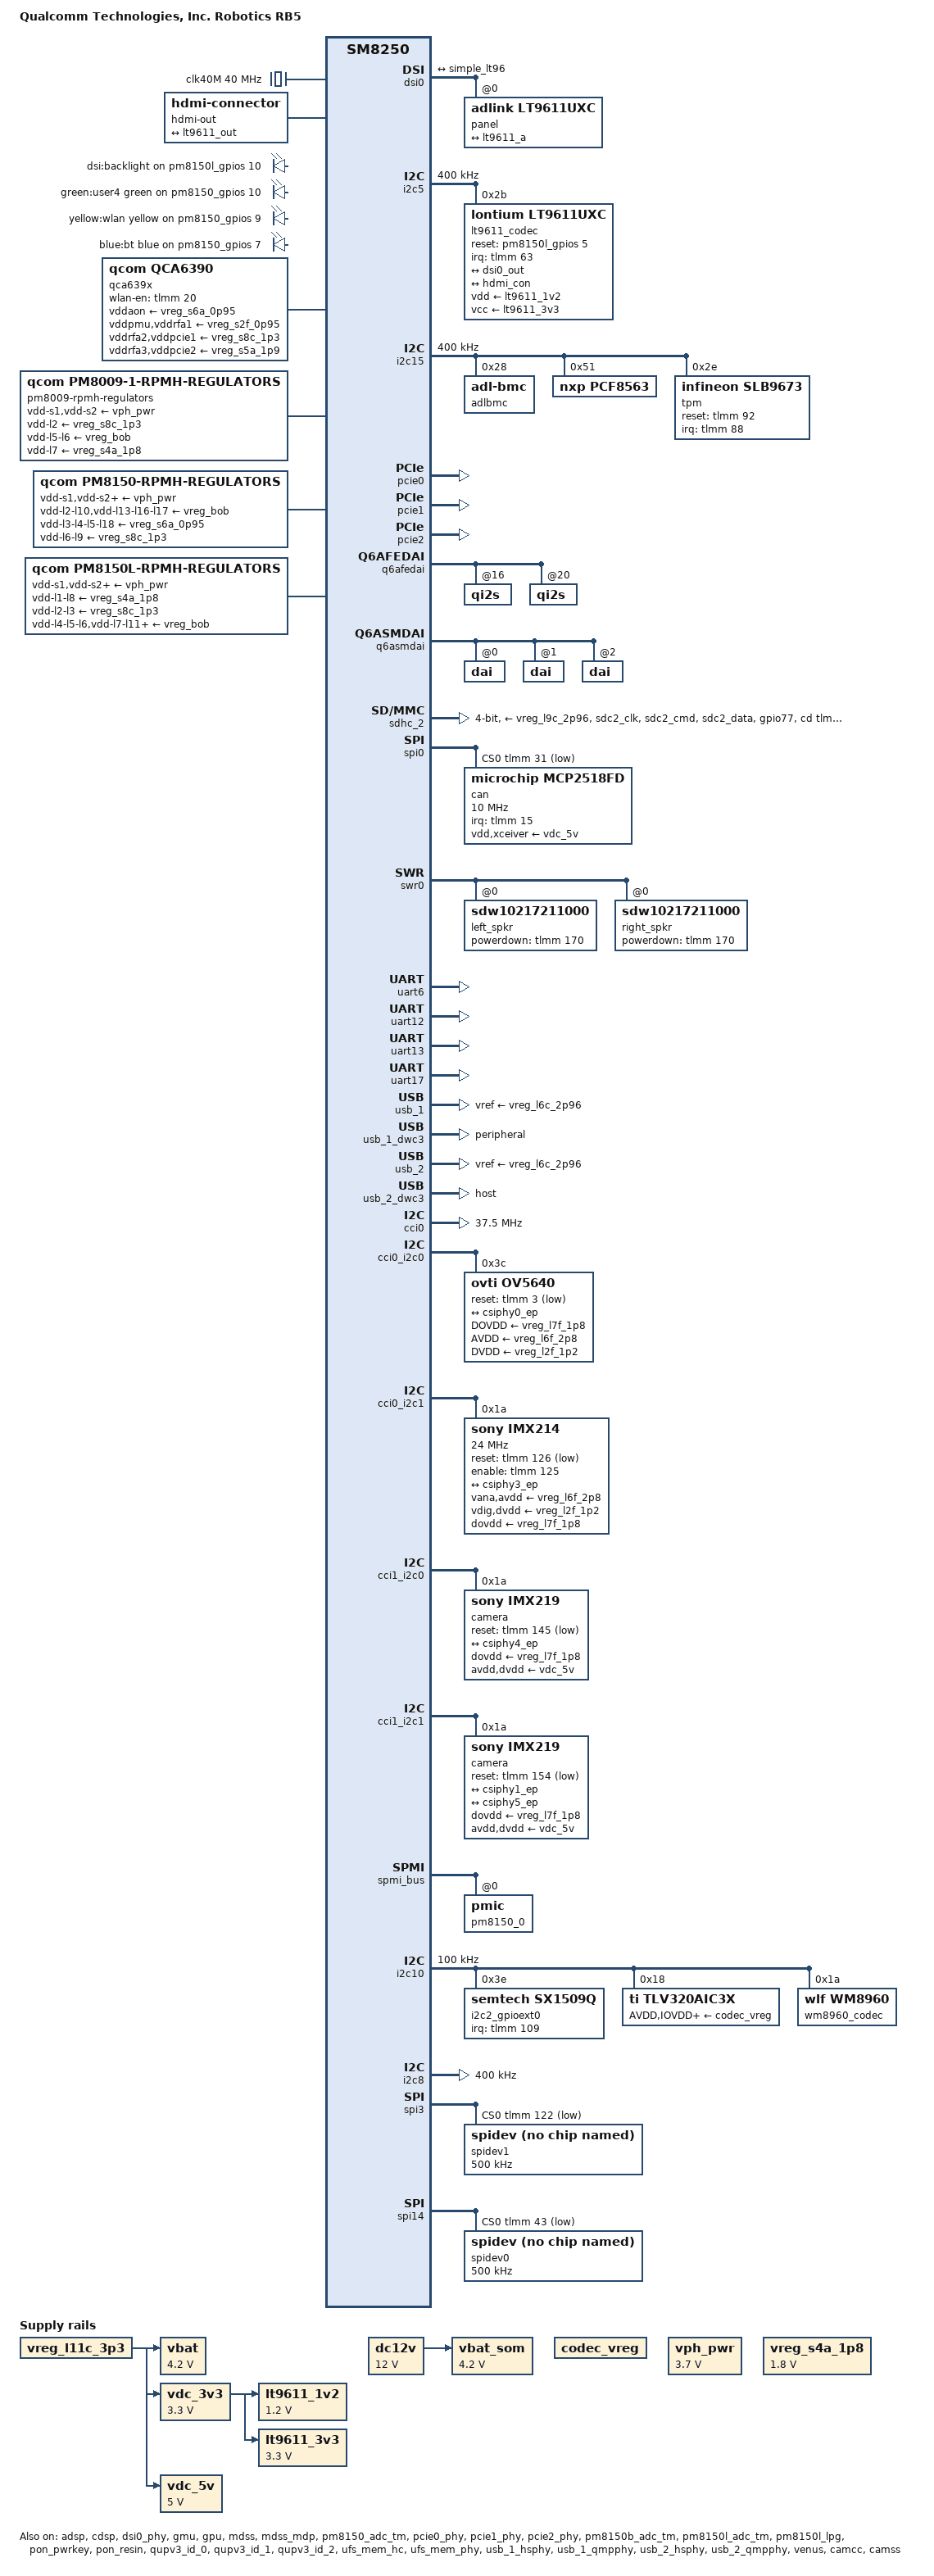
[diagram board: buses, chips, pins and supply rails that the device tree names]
// SPDX-License-Identifier: BSD-3-Clause
/*
 * Copyright (c) 2020, Linaro Ltd.
 */

/dts-v1/;

#include <dt-bindings/leds/common.h>
#include <dt-bindings/regulator/qcom,rpmh-regulator.h>
#include <dt-bindings/sound/qcom,q6afe.h>
#include <dt-bindings/sound/qcom,q6asm.h>
#include "sm8250.dtsi"
#include "pm8150.dtsi"
#include "pm8150b.dtsi"
#include "pm8150l.dtsi"

/ {
	model = "Qualcomm Technologies, Inc. Robotics RB5";
	compatible = "qcom,qrb5165-rb5", "qcom,sm8250";
	qcom,msm-id = <455 0x20001>;
	qcom,board-id = <11 3>;

	aliases {
		hsuart0 = &uart6;
                hsuart1 = &uart17;
                hsuart2 = &uart13;
                serial0 = &uart12;
                sdhc2 = &sdhc_2;	

//		serial0 = &uart12;
//		serial1 = &uart6;
//		sdhc2 = &sdhc_2;
	};

	chosen {
		stdout-path = "serial0:115200n8";
	};

	/* Fixed crystal oscillator dedicated to MCP2518FD */
	clk40M: can-clock {
		compatible = "fixed-clock";
		#clock-cells = <0>;
		clock-frequency = <40000000>;
	};

	dc12v: dc12v-regulator {
		compatible = "regulator-fixed";
		regulator-name = "DC12V";
		regulator-min-microvolt = <12000000>;
		regulator-max-microvolt = <12000000>;
		regulator-always-on;
	};

	hdmi-out {
		compatible = "hdmi-connector";
		type = "a";

		port {
			hdmi_con: endpoint {
				remote-endpoint = <&lt9611_out>;
			};
		};
	};
	
  
 	bl: backlight {
//                compatible = "gpio-backlight";
//		pinctrl-0 = <&dsi0_back_light_en>;
//               pinctrl-names = "default";
//                gpios = <&pm8150l_gpios 10 GPIO_ACTIVE_HIGH>;
		enable-gpios = <&tlmm 112 GPIO_ACTIVE_HIGH>;
        };



	leds {
		compatible = "gpio-leds";
	     
		pinctrl-0 = <&dsi0_back_light_en>;
              pinctrl-names = "default";

                dsibacklight {
                        label = "dsi:backlight";
	                gpios = <&pm8150l_gpios 10 GPIO_ACTIVE_HIGH>;
                        linux,default-trigger = "panic-indicator";
                        default-state = "off";
                };


		led-user4 {
			label = "green:user4";
			function = LED_FUNCTION_INDICATOR;
			color = <LED_COLOR_ID_GREEN>;
			gpios = <&pm8150_gpios 10 GPIO_ACTIVE_HIGH>;
			linux,default-trigger = "panic-indicator";
			default-state = "off";
		};

		led-wlan {
			label = "yellow:wlan";
			function = LED_FUNCTION_WLAN;
			color = <LED_COLOR_ID_YELLOW>;
			gpios = <&pm8150_gpios 9 GPIO_ACTIVE_HIGH>;
			linux,default-trigger = "phy0tx";
			default-state = "off";
		};

		led-bt {
			label = "blue:bt";
			function = LED_FUNCTION_BLUETOOTH;
			color = <LED_COLOR_ID_BLUE>;
			gpios = <&pm8150_gpios 7 GPIO_ACTIVE_HIGH>;
			linux,default-trigger = "bluetooth-power";
			default-state = "off";
		};
	};
   	codec_vreg: regulator-codec-tlv320aic3x {
                compatible = "regulator-fixed";
                regulator-name = "codec_vreg";
                startup-delay-us = <100>;
                enable-active-high;
        };

	lt9611_1v2: lt9611-vdd12-regulator {
		compatible = "regulator-fixed";
		regulator-name = "LT9611_1V2";

		vin-supply = <&vdc_3v3>;
		regulator-min-microvolt = <1200000>;
		regulator-max-microvolt = <1200000>;
	};

	lt9611_3v3: lt9611-3v3 {
		compatible = "regulator-fixed";
		regulator-name = "LT9611_3V3";

		vin-supply = <&vdc_3v3>;
		regulator-min-microvolt = <3300000>;
		regulator-max-microvolt = <3300000>;
		regulator-boot-on;
		regulator-always-on;
	};

	thermal-zones {
		conn-thermal {
			polling-delay-passive = <0>;
			polling-delay = <0>;
			thermal-sensors = <&pm8150b_adc_tm 0>;

			trips {
				active-config0 {
					temperature = <125000>;
					hysteresis = <1000>;
					type = "critical";
				};
			};
		};

		pm8150l-thermal {
			polling-delay-passive = <0>;
			polling-delay = <0>;
			thermal-sensors = <&pm8150l_adc_tm 1>;

			trips {
				active-config0 {
					temperature = <50000>;
					hysteresis = <4000>;
					type = "passive";
				};
			};
		};

		skin-msm-thermal {
			polling-delay-passive = <0>;
			polling-delay = <0>;
			thermal-sensors = <&pm8150l_adc_tm 0>;

			trips {
				active-config0 {
					temperature = <50000>;
					hysteresis = <4000>;
					type = "passive";
				};
			};
		};

		wifi-thermal {
			polling-delay-passive = <0>;
			polling-delay = <0>;
			thermal-sensors = <&pm8150_adc_tm 1>;

			trips {
				active-config0 {
					temperature = <52000>;
					hysteresis = <4000>;
					type = "passive";
				};
			};
		};

		xo-thermal {
			polling-delay-passive = <0>;
			polling-delay = <0>;
			thermal-sensors = <&pm8150_adc_tm 0>;

			trips {
				active-config0 {
					temperature = <50000>;
					hysteresis = <4000>;
					type = "passive";
				};
			};
		};
	};

	vbat: vbat-regulator {
		compatible = "regulator-fixed";
		regulator-name = "VBAT";
		vin-supply = <&vreg_l11c_3p3>;
		regulator-min-microvolt = <4200000>;
		regulator-max-microvolt = <4200000>;
		regulator-always-on;
	};

	vbat_som: vbat-som-regulator {
		compatible = "regulator-fixed";
		regulator-name = "VBAT_SOM";
		vin-supply = <&dc12v>;
		regulator-min-microvolt = <4200000>;
		regulator-max-microvolt = <4200000>;
		regulator-always-on;
	};

	vdc_3v3: vdc-3v3-regulator {
		compatible = "regulator-fixed";
		regulator-name = "VDC_3V3";
		vin-supply = <&vreg_l11c_3p3>;
		regulator-min-microvolt = <3300000>;
		regulator-max-microvolt = <3300000>;
		regulator-always-on;
	};

	vdc_5v: vdc-5v-regulator {
		compatible = "regulator-fixed";
		regulator-name = "VDC_5V";

		regulator-min-microvolt = <5000000>;
		regulator-max-microvolt = <5000000>;
		regulator-always-on;
		vin-supply = <&vreg_l11c_3p3>;
	};

	vph_pwr: vph-pwr-regulator {
		compatible = "regulator-fixed";
		regulator-name = "vph_pwr";
		regulator-min-microvolt = <3700000>;
		regulator-max-microvolt = <3700000>;
		regulator-always-on;
	};

	vreg_s4a_1p8: vreg-s4a-1p8 {
		compatible = "regulator-fixed";
		regulator-name = "vreg_s4a_1p8";
		regulator-min-microvolt = <1800000>;
		regulator-max-microvolt = <1800000>;
		regulator-always-on;
	};

	qca639x: qca639x {
		compatible = "qcom,qca6390";
		#power-domain-cells = <0>;

		vddaon-supply = <&vreg_s6a_0p95>;
		vddpmu-supply = <&vreg_s2f_0p95>;
		vddrfa1-supply = <&vreg_s2f_0p95>;
		vddrfa2-supply = <&vreg_s8c_1p3>;
		vddrfa3-supply = <&vreg_s5a_1p9>;
		vddpcie1-supply = <&vreg_s8c_1p3>;
		vddpcie2-supply = <&vreg_s5a_1p9>;
		vddio-supply = <&vreg_s4a_1p8>;

		pinctrl-names = "default";
		pinctrl-0 = <&wlan_en_state>;

		wlan-en-gpios = <&tlmm 20 GPIO_ACTIVE_HIGH>;
	};

};

&adsp {
	status = "okay";
	firmware-name = "qcom/sm8250/adsp.mbn";
};

&apps_rsc {
	pm8009-rpmh-regulators {
		compatible = "qcom,pm8009-1-rpmh-regulators";
		qcom,pmic-id = "f";

		vdd-s1-supply = <&vph_pwr>;
		vdd-s2-supply = <&vph_pwr>;
		vdd-l2-supply = <&vreg_s8c_1p3>;
		vdd-l5-l6-supply = <&vreg_bob>;
		vdd-l7-supply = <&vreg_s4a_1p8>;

		vreg_s2f_0p95: smps2 {
			regulator-name = "vreg_s2f_0p95";
			regulator-min-microvolt = <900000>;
			regulator-max-microvolt = <952000>;
			regulator-initial-mode = <RPMH_REGULATOR_MODE_AUTO>;
		};

		vreg_l1f_1p1: ldo1 {
			regulator-name = "vreg_l1f_1p1";
			regulator-min-microvolt = <1104000>;
			regulator-max-microvolt = <1104000>;
			regulator-initial-mode = <RPMH_REGULATOR_MODE_HPM>;
		};

		vreg_l2f_1p2: ldo2 {
			regulator-name = "vreg_l2f_1p2";
			regulator-min-microvolt = <1200000>;
			regulator-max-microvolt = <1200000>;
			regulator-initial-mode = <RPMH_REGULATOR_MODE_HPM>;
		};

		vreg_l6f_2p8: ldo6 {
			regulator-name = "vreg_l6f_2p8";
			regulator-min-microvolt = <2800000>;
			regulator-max-microvolt = <2800000>;
			regulator-initial-mode = <RPMH_REGULATOR_MODE_HPM>;
		};

		vreg_l7f_1p8: ldo7 {
			regulator-name = "vreg_l7f_1p8";
			regulator-min-microvolt = <1800000>;
			regulator-max-microvolt = <1800000>;
			regulator-initial-mode = <RPMH_REGULATOR_MODE_HPM>;
		};
	};

	pm8150-rpmh-regulators {
		compatible = "qcom,pm8150-rpmh-regulators";
		qcom,pmic-id = "a";

		vdd-s1-supply = <&vph_pwr>;
		vdd-s2-supply = <&vph_pwr>;
		vdd-s3-supply = <&vph_pwr>;
		vdd-s4-supply = <&vph_pwr>;
		vdd-s5-supply = <&vph_pwr>;
		vdd-s6-supply = <&vph_pwr>;
		vdd-s7-supply = <&vph_pwr>;
		vdd-s8-supply = <&vph_pwr>;
		vdd-s9-supply = <&vph_pwr>;
		vdd-s10-supply = <&vph_pwr>;
		vdd-l2-l10-supply = <&vreg_bob>;
		vdd-l3-l4-l5-l18-supply = <&vreg_s6a_0p95>;
		vdd-l6-l9-supply = <&vreg_s8c_1p3>;
		vdd-l7-l12-l14-l15-supply = <&vreg_s5a_1p9>;
		vdd-l13-l16-l17-supply = <&vreg_bob>;

		vreg_l2a_3p1: ldo2 {
			regulator-name = "vreg_l2a_3p1";
			regulator-min-microvolt = <3072000>;
			regulator-max-microvolt = <3072000>;
			regulator-initial-mode = <RPMH_REGULATOR_MODE_HPM>;
		};

		vreg_l3a_0p9: ldo3 {
			regulator-name = "vreg_l3a_0p9";
			regulator-min-microvolt = <928000>;
			regulator-max-microvolt = <932000>;
			regulator-initial-mode = <RPMH_REGULATOR_MODE_HPM>;
		};

		vreg_l5a_0p88: ldo5 {
			regulator-name = "vreg_l5a_0p88";
			regulator-min-microvolt = <880000>;
			regulator-max-microvolt = <880000>;
			regulator-initial-mode = <RPMH_REGULATOR_MODE_HPM>;
		};

		vreg_l6a_1p2: ldo6 {
			regulator-name = "vreg_l6a_1p2";
			regulator-min-microvolt = <1200000>;
			regulator-max-microvolt = <1200000>;
			regulator-initial-mode = <RPMH_REGULATOR_MODE_HPM>;
		};

		vreg_l7a_1p7: ldo7 {
			regulator-name = "vreg_l7a_1p7";
			regulator-min-microvolt = <1704000>;
			regulator-max-microvolt = <1800000>;
			regulator-initial-mode = <RPMH_REGULATOR_MODE_HPM>;
		};

		vreg_l9a_1p2: ldo9 {
			regulator-name = "vreg_l9a_1p2";
			regulator-min-microvolt = <1200000>;
			regulator-max-microvolt = <1200000>;
			regulator-initial-mode = <RPMH_REGULATOR_MODE_HPM>;
		};

		vreg_l10a_1p8: ldo10 {
			regulator-name = "vreg_l10a_1p8";
			regulator-min-microvolt = <1800000>;
			regulator-max-microvolt = <1800000>;
			regulator-initial-mode = <RPMH_REGULATOR_MODE_HPM>;
		};

		vreg_l12a_1p8: ldo12 {
			regulator-name = "vreg_l12a_1p8";
			regulator-min-microvolt = <1800000>;
			regulator-max-microvolt = <1800000>;
			regulator-initial-mode = <RPMH_REGULATOR_MODE_HPM>;
		};

		vreg_l13a_ts_3p0: ldo13 {
			regulator-name = "vreg_l13a_ts_3p0";
			regulator-min-microvolt = <3008000>;
			regulator-max-microvolt = <3008000>;
			regulator-initial-mode = <RPMH_REGULATOR_MODE_HPM>;
		};

		vreg_l14a_1p8: ldo14 {
			regulator-name = "vreg_l14a_1p8";
			regulator-min-microvolt = <1800000>;
			regulator-max-microvolt = <1880000>;
			regulator-initial-mode = <RPMH_REGULATOR_MODE_HPM>;
		};

		vreg_l15a_1p8: ldo15 {
			regulator-name = "vreg_l15a_1p8";
			regulator-min-microvolt = <1800000>;
			regulator-max-microvolt = <1800000>;
			regulator-initial-mode = <RPMH_REGULATOR_MODE_HPM>;
		};

		vreg_l16a_2p7: ldo16 {
			regulator-name = "vreg_l16a_2p7";
			regulator-min-microvolt = <2704000>;
			regulator-max-microvolt = <2960000>;
			regulator-initial-mode = <RPMH_REGULATOR_MODE_HPM>;
		};

		vreg_l17a_3p0: ldo17 {
			regulator-name = "vreg_l17a_3p0";
			regulator-min-microvolt = <2856000>;
			regulator-max-microvolt = <3008000>;
			regulator-initial-mode = <RPMH_REGULATOR_MODE_HPM>;
		};

		vreg_l18a_0p92: ldo18 {
			regulator-name = "vreg_l18a_0p92";
			regulator-min-microvolt = <800000>;
			regulator-max-microvolt = <912000>;
			regulator-initial-mode = <RPMH_REGULATOR_MODE_HPM>;
		};

		vreg_s5a_1p9: smps5 {
			regulator-name = "vreg_s5a_1p9";
			regulator-min-microvolt = <1904000>;
			regulator-max-microvolt = <2000000>;
			regulator-initial-mode = <RPMH_REGULATOR_MODE_HPM>;
		};

		vreg_s6a_0p95: smps6 {
			regulator-name = "vreg_s6a_0p95";
			regulator-min-microvolt = <920000>;
			regulator-max-microvolt = <1128000>;
			regulator-initial-mode = <RPMH_REGULATOR_MODE_HPM>;
		};
	};

	pm8150l-rpmh-regulators {
		compatible = "qcom,pm8150l-rpmh-regulators";
		qcom,pmic-id = "c";

		vdd-s1-supply = <&vph_pwr>;
		vdd-s2-supply = <&vph_pwr>;
		vdd-s3-supply = <&vph_pwr>;
		vdd-s4-supply = <&vph_pwr>;
		vdd-s5-supply = <&vph_pwr>;
		vdd-s6-supply = <&vph_pwr>;
		vdd-s7-supply = <&vph_pwr>;
		vdd-s8-supply = <&vph_pwr>;
		vdd-l1-l8-supply = <&vreg_s4a_1p8>;
		vdd-l2-l3-supply = <&vreg_s8c_1p3>;
		vdd-l4-l5-l6-supply = <&vreg_bob>;
		vdd-l7-l11-supply = <&vreg_bob>;
		vdd-l9-l10-supply = <&vreg_bob>;
		vdd-bob-supply = <&vph_pwr>;

		vreg_bob: bob {
			regulator-name = "vreg_bob";
			regulator-min-microvolt = <3008000>;
			regulator-max-microvolt = <4000000>;
			regulator-initial-mode = <RPMH_REGULATOR_MODE_AUTO>;
		};

		vreg_l1c_1p8: ldo1 {
			regulator-name = "vreg_l1c_1p8";
			regulator-min-microvolt = <1800000>;
			regulator-max-microvolt = <1800000>;
			regulator-initial-mode = <RPMH_REGULATOR_MODE_HPM>;
		};

		vreg_l2c_1p2: ldo2 {
			regulator-name = "vreg_l2c_1p2";
			regulator-min-microvolt = <1200000>;
			regulator-max-microvolt = <1200000>;
			regulator-initial-mode = <RPMH_REGULATOR_MODE_HPM>;
		};

		vreg_l3c_0p8: ldo3 {
			regulator-name = "vreg_l3c_0p8";
			regulator-min-microvolt = <800000>;
			regulator-max-microvolt = <800000>;
			regulator-initial-mode = <RPMH_REGULATOR_MODE_HPM>;
		};

		vreg_l4c_1p7: ldo4 {
			regulator-name = "vreg_l4c_1p7";
			regulator-min-microvolt = <1704000>;
			regulator-max-microvolt = <2928000>;
			regulator-initial-mode = <RPMH_REGULATOR_MODE_HPM>;
		};

		vreg_l5c_1p8: ldo5 {
			regulator-name = "vreg_l5c_1p8";
			regulator-min-microvolt = <1800000>;
			regulator-max-microvolt = <2928000>;
			regulator-initial-mode = <RPMH_REGULATOR_MODE_HPM>;
		};

		vreg_l6c_2p96: ldo6 {
			regulator-name = "vreg_l6c_2p96";
			regulator-min-microvolt = <1800000>;
			regulator-max-microvolt = <2960000>;
			regulator-initial-mode = <RPMH_REGULATOR_MODE_HPM>;
		};

		vreg_l7c_cam_vcm0_2p85: ldo7 {
			regulator-name = "vreg_l7c_cam_vcm0_2p85";
			regulator-min-microvolt = <2856000>;
			regulator-max-microvolt = <3104000>;
			regulator-initial-mode = <RPMH_REGULATOR_MODE_HPM>;
		};

		vreg_l8c_1p8: ldo8 {
			regulator-name = "vreg_l8c_1p8";
			regulator-min-microvolt = <1800000>;
			regulator-max-microvolt = <1800000>;
			regulator-initial-mode = <RPMH_REGULATOR_MODE_HPM>;
		};

		vreg_l9c_2p96: ldo9 {
			regulator-name = "vreg_l9c_2p96";
			regulator-min-microvolt = <2704000>;
			regulator-max-microvolt = <2960000>;
			regulator-initial-mode = <RPMH_REGULATOR_MODE_HPM>;
		};

		vreg_l10c_3p0: ldo10 {
			regulator-name = "vreg_l10c_3p0";
			regulator-min-microvolt = <3000000>;
			regulator-max-microvolt = <3000000>;
			regulator-initial-mode = <RPMH_REGULATOR_MODE_HPM>;
		};

		vreg_l11c_3p3: ldo11 {
			regulator-name = "vreg_l11c_3p3";
			regulator-min-microvolt = <3296000>;
			regulator-max-microvolt = <3296000>;
			regulator-initial-mode = <RPMH_REGULATOR_MODE_HPM>;
			regulator-always-on;
		};

		vreg_s8c_1p3: smps8 {
			regulator-name = "vreg_s8c_1p3";
			regulator-min-microvolt = <1352000>;
			regulator-max-microvolt = <1352000>;
			regulator-initial-mode = <RPMH_REGULATOR_MODE_HPM>;
		};
	};
};

&cdsp {
	status = "okay";
	firmware-name = "qcom/sm8250/cdsp.mbn";
};

&dsi0 {
	status = "okay";
	vdda-supply = <&vreg_l9a_1p2>;

#if 0
	qcom,dual-dsi-mode;
	qcom,master-dsi;
#endif
	ports {
		port@1 {
			endpoint {
				remote-endpoint = <&simple_lt96>;
				data-lanes = <0 1 2 3>;
			};
		};
	};
	        panel@0 {
                compatible = "adlink,lt9611uxc";
                reg = <0>;
                status = "ok";
                ports {
                        #address-cells = <1>;
                        #size-cells = <0>;

                        port@0 {
                                reg = <0>;
                                simple_lt96: endpoint {
                                        remote-endpoint = <&lt9611_a>;
                                };
                        };
                };

           };

};

&dsi0_phy {
	status = "okay";
	vdds-supply = <&vreg_l5a_0p88>;
};

&gmu {
	status = "okay";
};

&gpu {
	status = "okay";

	zap-shader {
		memory-region = <&gpu_mem>;
		firmware-name = "qcom/sm8250/a650_zap.mbn";
	};
};

/* LS-I2C0 */
&i2c4 {
        clock-frequency  = <400000>;
	status = "disabled";
};

&i2c5 {
	status = "okay";
	clock-frequency = <400000>;

	lt9611_codec: hdmi-bridge@2b {
		compatible = "lontium,lt9611uxc";
		reg = <0x2b>;
		#sound-dai-cells = <1>;

		interrupts-extended = <&tlmm 63 IRQ_TYPE_EDGE_FALLING>;

		reset-gpios = <&pm8150l_gpios 5 GPIO_ACTIVE_HIGH>;

		vdd-supply = <&lt9611_1v2>;
		vcc-supply = <&lt9611_3v3>;

		pinctrl-names = "default";
		pinctrl-0 = <&lt9611_irq_pin &lt9611_rst_pin>;

		ports {
			#address-cells = <1>;
			#size-cells = <0>;

			port@0 {
				reg = <0>;

				lt9611_a: endpoint {
					remote-endpoint = <&dsi0_out>;
				};
			};

#if 0
			port@1 {
				reg = <1>;

				lt9611_b: endpoint {
					remote-endpoint = <&dsi1_out>;
				};
			};
#endif

			port@2 {
				reg = <2>;

				lt9611_out: endpoint {
					remote-endpoint = <&hdmi_con>;
				};
			};

		};
	};
};

/* LS-I2C1 */
&i2c15 {
	status = "okay";
};

&mdss {
	status = "okay";
};

&mdss_mdp {
	status = "okay";
};

&pm8150_adc {
	xo-therm@4c {
		reg = <ADC5_XO_THERM_100K_PU>;
		qcom,ratiometric;
		qcom,hw-settle-time = <200>;
	};

	wifi-therm@4e {
		reg = <ADC5_AMUX_THM2_100K_PU>;
		qcom,ratiometric;
		qcom,hw-settle-time = <200>;
	};
};

&pm8150_adc_tm {
	status = "okay";

	xo-therm@0 {
		reg = <0>;
		io-channels = <&pm8150_adc ADC5_XO_THERM_100K_PU>;
		qcom,ratiometric;
		qcom,hw-settle-time-us = <200>;
	};

	wifi-therm@1 {
		reg = <1>;
		io-channels = <&pm8150_adc ADC5_AMUX_THM2_100K_PU>;
		qcom,ratiometric;
		qcom,hw-settle-time-us = <200>;
	};
};

&pcie0 {
	status = "okay";
};

&pcie0_phy {
	status = "okay";
	vdda-phy-supply = <&vreg_l5a_0p88>;
	vdda-pll-supply = <&vreg_l9a_1p2>;

	/* Power on QCA639x chip, otherwise PCIe bus timeouts */
	power-domains = <&qca639x>;
};

&pcie1 {
	status = "okay";
};

&pcie1_phy {
	status = "okay";
	vdda-phy-supply = <&vreg_l5a_0p88>;
	vdda-pll-supply = <&vreg_l9a_1p2>;
};

&pcie2 {
	status = "okay";
};

&pcie2_phy {
	status = "okay";
	vdda-phy-supply = <&vreg_l5a_0p88>;
	vdda-pll-supply = <&vreg_l9a_1p2>;
};

&pm8150_gpios {
	gpio-reserved-ranges = <1 1>, <3 2>, <7 1>;
	gpio-line-names =
		"NC",
		"OPTION2",
		"PM_GPIO-F",
		"PM_SLP_CLK_IN",
		"OPTION1",
		"VOL_UP_N",
		"PM8250_GPIO7", /* Blue LED */
		"SP_ARI_PWR_ALARM",
		"GPIO_9_P", /* Yellow LED */
		"GPIO_10_P"; /* Green LED */
};

&pm8150b_adc {
	conn-therm@4f {
		reg = <ADC5_AMUX_THM3_100K_PU>;
		qcom,ratiometric;
		qcom,hw-settle-time = <200>;
	};
};

&pm8150b_adc_tm {
	status = "okay";

	conn-therm@0 {
		reg = <0>;
		io-channels = <&pm8150b_adc ADC5_AMUX_THM3_100K_PU>;
		qcom,ratiometric;
		qcom,hw-settle-time-us = <200>;
	};
};

&pm8150b_gpios {
	gpio-line-names =
		"NC",
		"NC",
		"NC",
		"NC",
		"HAP_BOOST_EN", /* SOM */
		"SMB_STAT", /* SOM */
		"NC",
		"NC",
		"SDM_FORCE_USB_BOOT",
		"NC",
		"NC",
		"NC";
};

&pm8150l_adc {
	skin-msm-therm@4e {
		reg = <ADC5_AMUX_THM2_100K_PU>;
		qcom,ratiometric;
		qcom,hw-settle-time = <200>;
	};

	pm8150l-therm@4f {
		reg = <ADC5_AMUX_THM3_100K_PU>;
		qcom,ratiometric;
		qcom,hw-settle-time = <200>;
	};
};

&pm8150l_adc_tm {
	status = "okay";

	skin-msm-therm@0 {
		reg = <0>;
		io-channels = <&pm8150l_adc ADC5_AMUX_THM2_100K_PU>;
		qcom,ratiometric;
		qcom,hw-settle-time-us = <200>;
	};

	pm8150l-therm@1 {
		reg = <1>;
		io-channels = <&pm8150l_adc ADC5_AMUX_THM3_100K_PU>;
		qcom,ratiometric;
		qcom,hw-settle-time-us = <200>;
	};
};

&pm8150l_gpios {
	gpio-line-names =
		"NC",
		"PM3003A_EN",
		"NC",
		"NC",
		"PM_GPIO5", /* HDMI RST_N */
		"PM_GPIO-A", /* PWM */
		"PM_GPIO7",
		"NC",
		"NC",
		"PM_GPIO-B",
		"NC",
		"PM3003A_MODE";

	lt9611_rst_pin: lt9611-rst-state {
		pins = "gpio5";
		function = "normal";

		output-high;
		input-disable;
		power-source = <0>;
	};
};

&pm8150l_lpg {
	status = "okay";

	#address-cells = <1>;
	#size-cells = <0>;

	led@1 {
		reg = <1>;
		color = <LED_COLOR_ID_GREEN>;
		function = LED_FUNCTION_HEARTBEAT;
		function-enumerator = <3>;

		linux,default-trigger = "heartbeat";
		default-state = "on";
	};

	led@2 {
		reg = <2>;
		color = <LED_COLOR_ID_GREEN>;
		function = LED_FUNCTION_INDICATOR;
		function-enumerator = <2>;
		default-state = "on";
	};

	led@3 {
		reg = <3>;
		color = <LED_COLOR_ID_GREEN>;
		function = LED_FUNCTION_INDICATOR;
		function-enumerator = <1>;
	};
};

&pon_pwrkey {
	status = "okay";
};

&pon_resin {
	status = "okay";

	linux,code = <KEY_VOLUMEDOWN>;
};

&qupv3_id_0 {
	status = "okay";
};

&qupv3_id_1 {
	status = "okay";
};

&qupv3_id_2 {
	status = "okay";
};

&q6afedai {
	qi2s@16 {
		reg = <PRIMARY_MI2S_RX>;
		qcom,sd-lines = <0 1 2 3>;
	};
};

/* TERT I2S Uses 1 I2S SD Lines for audio on LT9611 HDMI Bridge */
&q6afedai {
	qi2s@20 {
		reg = <TERTIARY_MI2S_RX>;
		qcom,sd-lines = <0>;
	};
};

&q6asmdai {
	dai@0 {
		reg = <0>;
	};

	dai@1 {
		reg = <1>;
	};

	dai@2 {
		reg = <2>;
	};
};

&sdhc_2 {
	status = "okay";
	pinctrl-names = "default";
	pinctrl-0 = <&sdc2_default_state &sdc2_card_det_n>;
	vmmc-supply = <&vreg_l9c_2p96>;
	vqmmc-supply = <&vreg_l6c_2p96>;
	cd-gpios = <&tlmm 77 GPIO_ACTIVE_LOW>;
	bus-width = <4>;
	no-sdio;
	no-emmc;
};

&slpi {
	/* status = "okay"; */
	firmware-name = "qcom/sm8250/slpi.mbn";
};

&sound {
	compatible = "qcom,qrb5165-rb5-sndcard";
	status = "ok";
	pinctrl-0 = <&tert_mi2s_active>,<&pri_mi2s_active>;
	pinctrl-names = "default";
	model = "ADLINK-LEC-RB5-SND";
	audio-routing =
		"SpkrLeft IN", "WSA_SPK1 OUT",
		"SpkrRight IN", "WSA_SPK2 OUT",
		"VA DMIC0", "vdd-micb",
		"VA DMIC1", "vdd-micb",
		"MM_DL1",  "MultiMedia1 Playback",
		"MM_DL2",  "MultiMedia2 Playback",
		"MultiMedia3 Capture", "MM_UL3";
	mi2s-ext-mclk = <1>, <0>, <0>, <0>, <0>, <0>;
	mm1-dai-link {
		link-name = "MultiMedia1";
		cpu {
			sound-dai = <&q6asmdai  MSM_FRONTEND_DAI_MULTIMEDIA1>;
		};
	};

	mm2-dai-link {
		link-name = "MultiMedia2";
		cpu {
			sound-dai = <&q6asmdai  MSM_FRONTEND_DAI_MULTIMEDIA2>;
		};
	};

	mm3-dai-link {
		link-name = "MultiMedia3";
		cpu {
			sound-dai = <&q6asmdai  MSM_FRONTEND_DAI_MULTIMEDIA3>;
		};
	};

	hdmi-dai-link {
		link-name = "HDMI Playback";
		cpu {
			sound-dai = <&q6afedai TERTIARY_MI2S_RX>;
		};

		platform {
			sound-dai = <&q6routing>;
		};

		codec {
			sound-dai = <&lt9611_codec 0>;
		};
	};
	dma-dai-link {
                link-name = "WSA Playback";
                cpu {
                        sound-dai = <&q6afedai WSA_CODEC_DMA_RX_0>;
                };

                platform {
                        sound-dai = <&q6routing>;
                };

                codec {
                        sound-dai = <&left_spkr>, <&right_spkr>, <&swr0 0>, <&wsamacro 0>;
                };
        };

        va-dai-link {
                link-name = "VA Capture";
                cpu {
                        sound-dai = <&q6afedai VA_CODEC_DMA_TX_0>;
                };

                platform {
                        sound-dai = <&q6routing>;
                };

                codec {
                        sound-dai = <&vamacro 0>;
                };
        };

	primary-dai-link {
                link-name = "Primary MI2S Playback";
                cpu {
                        sound-dai = <&q6afedai PRIMARY_MI2S_RX>;
                };

                platform {
                        sound-dai = <&q6routing>;
                };

                codec {
                        sound-dai = <&tlv320aic3x 0>;
                };
        };
};

/* CAN */
&spi0 {
	status = "okay";
	pinctrl-names = "default";
	pinctrl-0 = <&qup_spi0_data_clk>, <&qup_spi0_cs_gpio>;
	cs-gpios = <&tlmm 31 GPIO_ACTIVE_LOW>;

	can@0 {
		compatible = "microchip,mcp2518fd";
		reg = <0>;
		clocks = <&clk40M>;
		interrupts-extended = <&tlmm 15 IRQ_TYPE_LEVEL_LOW>;
		spi-max-frequency = <10000000>;
		vdd-supply = <&vdc_5v>;
		xceiver-supply = <&vdc_5v>;
	};
};

&swr0 {
	left_spkr: wsa8810-left{
		compatible = "sdw10217211000";
		reg = <0 3>;
		powerdown-gpios = <&tlmm 170 GPIO_ACTIVE_HIGH>;
		#thermal-sensor-cells = <0>;
		sound-name-prefix = "SpkrLeft";
		#sound-dai-cells = <0>;
	};

	right_spkr: wsa8810-right{
		compatible = "sdw10217211000";
		reg = <0 4>;
		powerdown-gpios = <&tlmm 170 GPIO_ACTIVE_HIGH>;
		#thermal-sensor-cells = <0>;
		sound-name-prefix = "SpkrRight";
		#sound-dai-cells = <0>;
	};
};

&tlmm {
//	gpio-reserved-ranges = <40 4>;
	gpio-line-names =
		"GPIO-MM",
		"GPIO-NN",
		"GPIO-OO",
		"GPIO-PP",
		"GPIO-A",
		"GPIO-C",
		"GPIO-E",
		"GPIO-D",
		"I2C0-SDA",
		"I2C0-SCL",
		"GPIO-TT", /* GPIO_10 */
		"NC",
		"GPIO_12_I2C_SDA",
		"GPIO_13_I2C_SCL",
		"GPIO-X",
		"GPIO_15_RGMII_INT",
		"HST_BT_UART_CTS",
		"HST_BT_UART_RFR",
		"HST_BT_UART_TX",
		"HST_BT_UART_RX",
		"HST_WLAN_EN", /* GPIO_20 */
		"HST_BT_EN",
		"GPIO-AAA",
		"GPIO-BBB",
		"GPIO-CCC",
		"GPIO-Z",
		"GPIO-DDD",
		"GPIO-BB",
		"GPIO_28_CAN_SPI_MISO",
		"GPIO_29_CAN_SPI_MOSI",
		"GPIO_30_CAN_SPI_CLK", /* GPIO_30 */
		"GPIO_31_CAN_SPI_CS",
		"GPIO-UU",
		"NC",
		"UART1_TXD_SOM",
		"UART1_RXD_SOM",
		"UART0_CTS",
		"UART0_RTS",
		"UART0_TXD",
		"UART0_RXD",
		"SPI1_MISO", /* GPIO_40 */
		"SPI1_MOSI",
		"SPI1_CLK",
		"SPI1_CS",
		"I2C1_SDA",
		"I2C1_SCL",
		"GPIO-F",
		"GPIO-JJ",
		"Board_ID1",
		"Board_ID2",
		"NC", /* GPIO_50 */
		"NC",
		"SPI0_MISO",
		"SPI0_MOSI",
		"SPI0_SCLK",
		"SPI0_CS",
		"GPIO-QQ",
		"GPIO-RR",
		"USB2LAN_RESET",
		"USB2LAN_EXTWAKE",
		"NC", /* GPIO_60 */
		"NC",
		"NC",
		"LT9611_INT",
		"GPIO-AA",
		"USB_CC_DIR",
		"GPIO-G",
		"GPIO-LL",
		"USB_DP_HPD_1P8",
		"NC",
		"NC", /* GPIO_70 */
		"SD_CMD",
		"SD_DAT3",
		"SD_SCLK",
		"SD_DAT2",
		"SD_DAT1",
		"SD_DAT0", /* BOOT_CFG3 */
		"SD_UFS_CARD_DET_N",
		"GPIO-II",
		"PCIE0_RST_N",
		"PCIE0_CLK_REQ_N", /* GPIO_80 */
		"PCIE0_WAKE_N",
		"GPIO-CC",
		"GPIO-DD",
		"GPIO-EE",
		"GPIO-FF",
		"GPIO-GG",
		"GPIO-HH",
		"GPIO-VV",
		"GPIO-WW",
		"NC", /* GPIO_90 */
		"NC",
		"GPIO-K",
		"GPIO-I",
		"CSI0_MCLK",
		"CSI1_MCLK",
		"CSI2_MCLK",
		"CSI3_MCLK",
		"GPIO-AA", /* CSI4_MCLK */
		"GPIO-BB", /* CSI5_MCLK */
		"GPIO-KK", /* GPIO_100 */
		"CCI_I2C_SDA0",
		"CCI_I2C_SCL0",
		"CCI_I2C_SDA1",
		"CCI_I2C_SCL1",
		"CCI_I2C_SDA2",
		"CCI_I2C_SCL2",
		"CCI_I2C_SDA3",
		"CCI_I2C_SCL3",
		"GPIO-L",
		"NC", /* GPIO_110 */
		"NC",
		"ACCEL_INT",
		"GYRO_INT",
		"GPIO-J",
		"GPIO-YY",
		"GPIO-H",
		"GPIO-ZZ",
		"NC",
		"NC",
		"NC", /* GPIO_120 */
		"NC",
		"MAG_INT",
		"MAG_DRDY_INT",
		"HST_SW_CTRL",
		"GPIO-M",
		"GPIO-N",
		"GPIO-O",
		"GPIO-P",
		"PS_INT",
		"WSA1_EN", /* GPIO_130 */
		"USB_HUB_RESET",
		"SDM_FORCE_USB_BOOT",
		"I2S1_CLK_HDMI",
		"I2S1_DATA0_HDMI",
		"I2S1_WS_HDMI",
		"GPIO-B",
		"GPIO_137", /* To LT9611_I2S_MCLK_3V3 */
		"PCM_CLK",
		"PCM_DI",
		"PCM_DO", /* GPIO_140 */
		"PCM_FS",
		"HST_SLIM_CLK",
		"HST_SLIM_DATA",
		"GPIO-U",
		"GPIO-Y",
		"GPIO-R",
		"GPIO-Q",
		"GPIO-S",
		"GPIO-T",
		"GPIO-V", /* GPIO_150 */
		"GPIO-W",
		"DMIC_CLK1",
		"DMIC_DATA1",
		"DMIC_CLK2",
		"DMIC_DATA2",
		"WSA_SWR_CLK",
		"WSA_SWR_DATA",
		"DMIC_CLK3",
		"DMIC_DATA3",
		"I2C4_SDA", /* GPIO_160 */
		"I2C4_SCL",
		"SPI3_CS1",
		"SPI3_CS2",
		"SPI2_MISO_LS3",
		"SPI2_MOSI_LS3",
		"SPI2_CLK_LS3",
		"SPI2_ACCEL_CS_LS3",
		"SPI2_CS1",
		"NC",
		"GPIO-SS", /* GPIO_170 */
		"GPIO-XX",
		"SPI3_MISO",
		"SPI3_MOSI",
		"SPI3_CLK",
		"SPI3_CS",
		"HST_BLE_SNS_UART_TX",
		"HST_BLE_SNS_UART_RX",
		"HST_WLAN_UART_TX",
		"HST_WLAN_UART_RX";

	bt_en_state: bt-default-state {
		bt-en {
			pins = "gpio21";
			function = "gpio";

			drive-strength = <16>;
			output-low;
			bias-pull-up;
		};
	};

	cam2_default: cam2-default {
		rst {
			pins = "gpio78";
			function = "gpio";

			drive-strength = <2>;
			bias-disable;
		};

		mclk {
			pins = "gpio96";
			function = "cam_mclk";

			drive-strength = <16>;
			bias-disable;
		};
	};

	cam2_suspend: cam2-suspend {
		rst {
			pins = "gpio78";
			function = "gpio";

			drive-strength = <2>;
			bias-pull-down;
			output-low;
		};

		mclk {
			pins = "gpio96";
			function = "cam_mclk";

			drive-strength = <2>;
			bias-disable;
		};
	};

	lt9611_irq_pin: lt9611-irq {
		pins = "gpio63";
		function = "gpio";
		bias-disable;
	};

	sdc2_default_state: sdc2-default {
		clk {
			pins = "sdc2_clk";
			bias-disable;
			drive-strength = <16>;
		};

		cmd {
			pins = "sdc2_cmd";
			bias-pull-up;
			drive-strength = <10>;
		};

		data {
			pins = "sdc2_data";
			bias-pull-up;
			drive-strength = <10>;
		};
	};

	sdc2_card_det_n: sd-card-det-n {
		pins = "gpio77";
		function = "gpio";
		bias-pull-up;
	};

	wlan_en_state: wlan-default-state {
		wlan-en {
			pins = "gpio20";
			function = "gpio";

			drive-strength = <16>;
			output-low;
			bias-pull-up;
		};
	};
};

&uart6 {
	status = "okay";
/*	bluetooth {
		compatible = "qcom,qca6390-bt";
		pinctrl-names = "default";
		pinctrl-0 = <&bt_en_state>;

		power-domains = <&qca639x>;
		enable-gpios = <&tlmm 21 GPIO_ACTIVE_HIGH>;
	};*/
};

&uart12 {
	status = "okay";
};

&uart13 {
	status = "okay";
};
&uart17 {
	status = "okay";
};

&ufs_mem_hc {
	status = "okay";

	vcc-supply = <&vreg_l17a_3p0>;
	vcc-max-microamp = <800000>;
	vccq-supply = <&vreg_l6a_1p2>;
	vccq-max-microamp = <800000>;
	vccq2-supply = <&vreg_s4a_1p8>;
	vccq2-max-microamp = <800000>;
};

&ufs_mem_phy {
	status = "okay";

	vdda-phy-supply = <&vreg_l5a_0p88>;
	vdda-pll-supply = <&vreg_l9a_1p2>;
};

&usb_1 {
	status = "okay";
	vref-supply = <&vreg_l6c_2p96>;
};

&usb_1_dwc3 {
//        dr_mode = "otg";
      dr_mode = "peripheral";
        usb-role-switch;
};

&usb_1_hsphy {
	status = "okay";

	vdda-pll-supply = <&vreg_l5a_0p88>;
	vdda33-supply = <&vreg_l2a_3p1>;
	vdda18-supply = <&vreg_l12a_1p8>;
};

&usb_1_qmpphy {
	status = "okay";

	vdda-phy-supply = <&vreg_l9a_1p2>;
	vdda-pll-supply = <&vreg_l18a_0p92>;
};

&usb_2 {
	vref-supply = <&vreg_l6c_2p96>;
	status = "okay";
};

&usb_2_dwc3 {
	dr_mode = "host";
};

&usb_2_hsphy {
	status = "okay";

	vdda-pll-supply = <&vreg_l5a_0p88>;
	vdda33-supply = <&vreg_l2a_3p1>;
	vdda18-supply = <&vreg_l12a_1p8>;
};

&usb_2_qmpphy {
	status = "okay";

	vdda-phy-supply = <&vreg_l9a_1p2>;
	vdda-pll-supply = <&vreg_l18a_0p92>;
};

&vamacro {
	pinctrl-0 = <&dmic01_active>;
	pinctrl-names = "default";
	vdd-micb-supply = <&vreg_s4a_1p8>;
	qcom,dmic-sample-rate = <600000>;
};

&venus {
	status = "okay";
};

/* PINCTRL - additions to nodes defined in sm8250.dtsi */
&qup_spi0_cs_gpio {
	drive-strength = <6>;
	bias-disable;
};

&qup_spi0_data_clk {
	drive-strength = <6>;
	bias-disable;
};

&camcc {
	status = "okay";
};

&camss {
	status = "okay";
	vdda-phy-supply = <&vreg_l5a_0p88>;
	vdda-pll-supply = <&vreg_l9a_1p2>;

	ports {
		#address-cells = <1>;
		#size-cells = <0>;

		/* The port index denotes CSIPHY id i.e. csiphy2 */
		port@0 {
			reg = <0>;
			csiphy0_ep: endpoint {
				clock-lanes = <0>;
				data-lanes = <1 2>;
				remote-endpoint = <&imx219_ep0>;
			};

		};
		port@2 {
			reg = <2>;
			csiphy2_ep: endpoint {
				clock-lanes = <7>;
				data-lanes = <0 1 2 3>;
				remote-endpoint = <&imx219_ep2>;
			};

		};
		port@3 {
			reg = <3>;
			csiphy3_ep: endpoint {
				clock-lanes = <7>;
				data-lanes = <0 1 2 3>;
				remote-endpoint = <&imx219_ep3>;
			};

		};
		port@1 {
			reg = <1>;
			csiphy1_ep: endpoint {
				clock-lanes = <7>;
				data-lanes = <0 1 2 3>;
				remote-endpoint = <&imx219_ep1>;
			};

		};
		port@4 {
			reg = <4>;
			csiphy4_ep: endpoint {
				clock-lanes = <7>;
				data-lanes = <0 1 2 3>;
				remote-endpoint = <&imx219_ep4>;
			};

		};
		port@5 {
			reg = <5>;
			csiphy5_ep: endpoint {
				clock-lanes = <7>;
				data-lanes = <0 1 2 3>;
				remote-endpoint = <&imx219_ep5>;
			};

		};
	};
};

&cci0 {
	clock-frequency=<37500000>;
	status = "okay";
};

&cci0_i2c0 {
	//CI_I2C_SCL0 - CCI_I2C_SDA0 		

	ov5640@3c {
		 // CAM_0 
//		compatible = "sony,imx219";
		compatible = "ovti,ov5640";
		reg = <0x3c>;

		reset-gpios = <&tlmm 3 GPIO_ACTIVE_LOW>;
		pinctrl-names = "default", "suspend";

	        pinctrl-0 = <&cam_sensor_mclk0_active
                                &cam_sensor0_power_adlink_active
                                &cam_sensor0_active_adlink_rst0 >;
                pinctrl-1 = <&cam_sensor_mclk0_suspend
                                &cam_sensor0_power_adlink_suspend
                                &cam_sensor0_suspend_adlink_rst0>;

		clocks = <&camcc CAM_CC_MCLK0_CLK>;
		assigned-clocks = <&camcc CAM_CC_MCLK0_CLK>;
		assigned-clock-rates = <24000000>;

		power-domains = <&camcc TITAN_TOP_GDSC>;
		DOVDD-supply  = <&vreg_l7f_1p8>;
		AVDD-supply = <&vreg_l6f_2p8>;
		DVDD-supply = <&vreg_l2f_1p2>;
	
//		dovdd-supply  = <&vreg_l7f_1p8>;
//		avdd-supply = <&vdc_5v>;
//		dvdd-supply = <&vdc_5v>;

		status = "okay";
		port {
			imx219_ep0: endpoint {
				clock-lanes = <0>;
				link-frequencies = /bits/ 64 <456000000>;
				data-lanes = <1 2>;
				remote-endpoint = <&csiphy0_ep>;
			};
		};
	};
	// CAM_2 
	imx214 {
		compatible = "sony,imx214";
		reg = <0x1a>;

		reset-gpios = <&tlmm 116 GPIO_ACTIVE_LOW>;
		pinctrl-names = "default", "suspend";

                pinctrl-0 = <&cam_sensor_mclk2_active
                                 &cam_sensor_active_adlink_rst2
                                 &cam_sensor_power_adlink_active>;
                pinctrl-1 = <&cam_sensor_mclk2_suspend
                                 &cam_sensor_suspend_adlink_rst2
                                 &cam_sensor_power_adlink_suspend>;

		clocks = <&camcc CAM_CC_MCLK2_CLK>;
		assigned-clocks = <&camcc CAM_CC_MCLK2_CLK>;
		assigned-clock-rates = <24000000>;

		power-domains = <&camcc TITAN_TOP_GDSC>;
		dovdd-supply  = <&vreg_l7f_1p8>;
		avdd-supply = <&vdc_5v>;
		dvdd-supply = <&vdc_5v>;

		status = "disabled";
		port {
			imx219_ep2: endpoint {
				clock-lanes = <1>;
				link-frequencies = /bits/ 64 <600000000>;
				data-lanes = <1 2 3 4>;
				remote-endpoint = <&csiphy2_ep>;
			};
		};
	};
};

&cci0_i2c1 {
	// CCI_I2C_SDA1 - CCI_I2C_SCL1 

	imx214@1a {
		//CAM 3
		compatible = "sony,imx214";
		reg = <0x1a>;

		reset-gpios = <&tlmm 126 GPIO_ACTIVE_LOW>;
		pinctrl-names = "default", "suspend";
                pinctrl-0 = <&cam_sensor_mclk3_active
                                 &cam_sensor3_active_adlink_rst2
                                 &cam_sensor3_power_adlink_active>;
                pinctrl-1 = <&cam_sensor_mclk3_suspend
                                 &cam_sensor3_suspend_adlink_rst2
                                 &cam_sensor3_power_adlink_suspend>;

		enable-gpios = <&tlmm 125 GPIO_ACTIVE_HIGH>;
		clocks = <&camcc CAM_CC_MCLK3_CLK>;
		assigned-clocks = <&camcc CAM_CC_MCLK3_CLK>;
		assigned-clock-rates = <24000000>;
		clock-frequency = <24000000>;

		vana-supply = <&vreg_l6f_2p8>;
		vdig-supply = <&vreg_l2f_1p2>;

		power-domains = <&camcc TITAN_TOP_GDSC>;
		dovdd-supply  = <&vreg_l7f_1p8>;
		avdd-supply = <&vreg_l6f_2p8>;
		dvdd-supply = <&vreg_l2f_1p2>;
		rotation = <180>;
		
		status = "ok";
		port {
			imx219_ep3: endpoint {
				clock-lanes = <1>;
				link-frequencies = /bits/ 64 <480000000>;
				data-lanes = <1 2 3 4>;
				remote-endpoint = <&csiphy3_ep>;
			};
		};
	};
};


&cci1 {
	status = "disabled";
};

&cci1_i2c0{
	// CCI_I2C_SDA2 - CCI_I2C_SCL2 

	camera@1a {
		//CAM 4
		compatible = "sony,imx219";
		reg = <0x1a>;

		reset-gpios = <&tlmm 145  GPIO_ACTIVE_LOW>;
		pinctrl-names = "default", "suspend";
                 pinctrl-0 = <&cam_sensor_mclk4_active
                                 &cam_sensor04_active_adlink_rst2
                                 &cam_sensor04_power_adlink_active>;
                pinctrl-1 = <&cam_sensor_mclk4_suspend
                                 &cam_sensor04_suspend_adlink_rst2
                                 &cam_sensor04_power_adlink_suspend>;


		clocks = <&camcc CAM_CC_MCLK4_CLK>;
		assigned-clocks = <&camcc CAM_CC_MCLK4_CLK>;
		assigned-clock-rates = <24000000>;

		power-domains = <&camcc TITAN_TOP_GDSC>;
		dovdd-supply  = <&vreg_l7f_1p8>;
		avdd-supply = <&vdc_5v>;
		dvdd-supply = <&vdc_5v>;

		status = "okay";
		port {
			imx219_ep4: endpoint {
				clock-lanes = <1>;
				link-frequencies = /bits/ 64 <600000000>;
				data-lanes = <1 2 3 4>;
				remote-endpoint = <&csiphy4_ep>;
			};
		};
	};
		
};

&cci1_i2c1 {
	// CCI_I2C_SDA3 - CCI_I2C_SCL3  	

	camera@1a {
		//  CAM_1 
		compatible = "sony,imx219";
		reg = <0x1a>;

		reset-gpios = <&tlmm 51 GPIO_ACTIVE_LOW>;
		pinctrl-names = "default", "suspend";
                pinctrl-0 = <&cam_sensor_mclk1_active
                                &cam_sensor1_power_adlink_active
                                &cam_sensor1_active_adlink_rst2>;
                pinctrl-1 = <&cam_sensor_mclk1_suspend
                                &cam_sensor1_power_adlink_suspend
                                &cam_sensor1_suspend_adlink_rst2>;


		clocks = <&camcc CAM_CC_MCLK1_CLK>;
		assigned-clocks = <&camcc CAM_CC_MCLK1_CLK>;
		assigned-clock-rates = <24000000>;

		power-domains = <&camcc TITAN_TOP_GDSC>;
		dovdd-supply  = <&vreg_l7f_1p8>;
		avdd-supply = <&vdc_5v>;
		dvdd-supply = <&vdc_5v>;

		status = "disabled";
		port {
			imx219_ep1: endpoint {
				clock-lanes = <1>;
				link-frequencies = /bits/ 64 <600000000>;
				data-lanes = <1 2 3 4>;
				remote-endpoint = <&csiphy1_ep>;
			};
		};
	};
	//CAM_5 
	camera@1a {
		compatible = "sony,imx219";
		reg = <0x1a>;

		reset-gpios = <&tlmm 154 GPIO_ACTIVE_LOW>;
		pinctrl-names = "default", "suspend";
                pinctrl-0 = <&cam_sensor5_active_adlink_rst2
                                 &cam_sensor5_power_adlink_active>;
                pinctrl-1 = <&cam_sensor5_suspend_adlink_rst2
                                 &cam_sensor5_power_adlink_suspend>;


		clocks = <&camcc CAM_CC_MCLK5_CLK>;
		assigned-clocks = <&camcc CAM_CC_MCLK5_CLK>;
		assigned-clock-rates = <24000000>;

		power-domains = <&camcc TITAN_TOP_GDSC>;
		dovdd-supply  = <&vreg_l7f_1p8>;
		avdd-supply = <&vdc_5v>;
		dvdd-supply = <&vdc_5v>;

		status = "ok";
		port {
			imx219_ep5: endpoint {
				clock-lanes = <1>;
				link-frequencies = /bits/ 64 <600000000>;
				data-lanes = <1 2 3 4>;
				remote-endpoint = <&csiphy5_ep>;
			};
		};
	};
};

&i2c15
{       /*APPS_I2C */
        status = "okay";
        clock-frequency  = <400000>;

        adlbmc:adl-bmc@28 {
                compatible = "adl-bmc";
                reg=<0x28>;
                #address-cells = <1>;
                #size-cells = <0>;
                status = "okay";
        };

        pcf8563: pcf8563@51 {
                compatible = "nxp,pcf8563";
                reg = <0x51>;
                #clock-cells = <0>;
                status = "okay";
        };
        /*       TPM - ST33TPHF2XI2C */

        tpm:  st33tphf2xi2c@2e {
                #gpio-cells = <2>;
                #interrupt-cells = <2>;
//                compatible = "st,st33htpm-i2c";
                compatible = "infineon,slb9673";
                reg = <0x2e>;

                label = "tpm";
                pinctrl-names = "default";
                pinctrl-0 = <&nfc_int_active &nfc_enable_active &dsi0_lcd0_en &dsi0_TE_en>; //gpio110 - TPM_PP ; gpio111 - TPM_LP
                interrupt-parent = <&tlmm>;
                interrupts = <88 0>;            //TPM_IRQ_N
                reset-gpio = <&tlmm 92 0>;      //TPM_RST_N
                status = "okay";

                };

};

&tlmm{

  nfc_enable_active: nfc_enable_active {
                           /* active state */
                           mux {
                                   /* 6: Enable 110: Firmware */
                                   pins = "gpio110";
                                   function = "gpio";
                           };

                           config {
                                   pins = "gpio110";
                                   drive-strength = <2>; /* 2 MA */
                                   bias-pull-up;
                           };
                   };
        nfc_int_active: nfc_int_active {
                        /* active state */
                        mux {
                                /* GPIO 111 NFC Read Interrupt */
                                pins = "gpio111";
                                function = "gpio";
                        };

                        config {
                                pins = "gpio111";
                                drive-strength = <2>; /* 2 MA */
                                bias-pull-up;
                        };
                };
	dsi0_lcd0_en: dsi0_lcd0_en{
                      mux {
                              pins =  "gpio73";
                              function = "gpio";
                      };

                      config {
                              pins = "gpio73";
                              bias-pull-down;
                              drive-strength = <4>;
                              output-high;
                              input-disable;
                              power-source = <2>;
                      };
              };

        dsi0_back_light_en: dsi0_back_light_en{
                            mux {
                                    pins =  "gpio72";
                                    function = "gpio";
                            };

                            config {
                                    pins = "gpio72";
                                    bias-pull-down;
                                    drive-strength = <4>;
                                    output-high;
                                    input-disable;
                                    power-source = <2>;
                            };
                    };

        dsi0_TE_en: dsi0_TE_en{
                            mux {
                                    pins =  "gpio66";
                                    function = "gpio";
                            };

                            config {
                                    pins = "gpio66";
                                    bias-pull-down;
                                    drive-strength = <4>;
                                    output-high;
                                    input-disable;
                                    power-source = <2>;
                            };
                    };



};

&spmi_bus {
        pm8150_0: pmic@0 {
        rtc@6000 {
        status = "disabled";
        };
        };
};

&i2c10
{       /*I2C_GP */
        status = "ok";
        /*I2C_GP CN1001 AND TPM CHIP and wm8960 audio codec*/
        #address-cells = <1>;
        #size-cells = <0>;
        status = "ok";
        clock-frequency  = <100000>;

        i2c2_gpioext0@3e {
                /* GPIO Expander 2 Mapping :
                * - 0: E_GPIO1_0       <=>                                     IPi SMARC Plus CN101_PIN29: E_GPIO1_0
                * - 1: E_GPIO1_1       <=>                                     IPi SMARC Plus CN101_PIN31: E_GPIO1_1
                 * - 2: E_GPIO1_2       <=>                                     IPi SMARC Plus CN101_PIN32: E_GPIO1_2
                 * - 3: E_GPIO1_3       <=>                                     IPi SMARC Plus CN101_PIN33: E_GPIO1_3
                 * - 4: E_GPIO1_4       <=>                                     IPi SMARC Plus CN101_PIN35: E_GPIO1_4
                 * - 5: E_GPIO1_5       <=>                                     IPi SMARC Plus CN101_PIN36: E_GPIO1_5
                 * - 6: E_GPIO1_6       <=>                                     IPi SMARC Plus CN101_PIN37: E_GPIO1_6
                 * - 7: E_GPIO1_7       <=>                                     IPi SMARC Plus CN101_PIN38: E_GPIO1_7
                 * - 8: E_GPIO2_8       <=>                                     IPi SMARC Plus CN101_PIN40: E_GPIO2_8
                 * - 9: TP1002          <=>                                     IPi SMARC Plus TP1002 (won't use)
                 * - 10: TP1003         <=>                                     IPi SMARC Plus TP1003 (won't use)
                 * - 11: TP1004         <=>                                     IPi SMARC Plus TP1004 (won't use)
                 * - 12: TP1005         <=>                                     IPi SMARC Plus TP1005 (won't use)
                 * - 13: TP1006         <=>                                     IPi SMARC Plus TP1006 (won't use)
                 * - 14: TP1007         <=>                                     IPi SMARC Plus TP1007 (won't use)
                 * - 15: TP1008         <=>                                     IPi SMARC Plus TP1008 (won't use)
                 * - 16: OSCIO          <=>                                     IPi SMARC Plus TP1001 (won't use)
                */
                #gpio-cells = <2>;
                #interrupt-cells = <2>;
                compatible = "semtech,sx1509q";
                reg = <0x3e>;

                semtech,probe-reset;
                gpio-controller;
                interrupt-controller;

                interrupt-parent = <&tlmm>;
                interrupts = <109 IRQ_TYPE_EDGE_FALLING>;
        };
        tlv320aic3x: tlv320aic3x@18 {

		#sound-dai-cells = <1>;

                compatible = "ti,tlv320aic3x";
                reg = <0x18>;
                clock-names = "mclk";
                AVDD-supply = <&codec_vreg>;
                IOVDD-supply = <&codec_vreg>;
                DRVDD-supply = <&codec_vreg>;
                DVDD-supply = <&codec_vreg>;
                ai3x-ocmv = <3>;
                ai3x-micbias-vg = <3>;
                status = "ok";
        };
        wm8960_codec: wm8960@1a {
		#sound-dai-cells = <1>;
		

                compatible = "wlf,wm8960";
                reg = <0x1a>;
                wlf,shared-lrclk;
		clocks = <&audiocc LPASS_CDC_WSA_MCLK>;
                clock-names = "mclk";

                #address-cells = <1>;
                #size-cells = <0>;
                status = "ok";
        };



};
&i2c1
{       /*CSI0 */
        clock-frequency  = <400000>;
        status = "disabled";
};
&i2c8
{       /*I2C_PM*/
        clock-frequency  = <400000>;
        status = "okay";
};
&spi3 {
        status = "okay";
        pinctrl-names = "default";
        pinctrl-0 = <&qup_spi3_data_clk>, <&qup_spi3_cs_gpio>;
        cs-gpios = <&tlmm 122 GPIO_ACTIVE_LOW>;

        //spidev1 node
        spidev1: spi@0 {
                reg = <0>;
                compatible = "rohm,dh2228fv";
                spi-max-frequency = <500000>;
                status = "okay";

        };

};

&spi14 {
        status = "okay";
        pinctrl-names = "default";
        pinctrl-0 = <&qup_spi14_data_clk>, <&qup_spi14_cs_gpio>;
        cs-gpios = <&tlmm 43 GPIO_ACTIVE_LOW>;

        //spidev0 node
        spidev0: spi@0 {
                reg = <0>;
                compatible = "rohm,dh2228fv";
                spi-max-frequency = <500000>;
                status = "okay";
        };
};
&tlmm {
        cam_sensor_power_adlink_active: cam_sensor_power_adlink_active {
                        mux {
                                pins = "gpio115";
                                function = "gpio";
                        };

                        config {
                                pins = "gpio115";
                                bias-disable; /* No PULL */
                                drive-strength = <2>; /* 2 MA */
                                output-high;
                        };
                };

        cam_sensor_power_adlink_suspend: cam_sensor_power_adlink_suspend {
                        mux {
                                pins = "gpio115";
                                function = "gpio";
                        };

                        config {
                                pins = "gpio115";
                                bias-pull-down; /* PULL DOWN */
                                drive-strength = <2>; /* 2 MA */
                                output-low;
                        };
                };
        cam_sensor_active_adlink_rst2: cam_sensor_active_adlink_rst2 {
                        /* RESET 2 */
                        mux {
                                pins = "gpio116";
                                function = "gpio";
                        };

                        config {
                                pins = "gpio116";
                                bias-disable; /* No PULL */
                                drive-strength = <2>; /* 2 MA */
                                output-high;
                        };
                };

       cam_sensor_suspend_adlink_rst2: cam_sensor_suspend_adlink_rst2 {
                        /* RESET 2 */
                        mux {
                                pins = "gpio116";
                                function = "gpio";
                        };

                        config {
                                pins = "gpio116";
                                bias-pull-down; /* PULL DOWN */
                                drive-strength = <2>; /* 2 MA */
                                output-low;
                        };
                };

       cam_sensor5_power_adlink_active: cam_sensor5_power_adlink_active {
                        mux {
                                pins = "gpio153";
                                function = "gpio";
                        };

                        config {
                                pins = "gpio153";
                                bias-disable; /* No PULL */
                                drive-strength = <2>; /* 2 MA */
                                output-high;
                        };
                };

        cam_sensor5_power_adlink_suspend: cam_sensor5_power_adlink_suspend {
                        mux {
                                pins = "gpio153";
                                function = "gpio";
                        };

                        config {
                                pins = "gpio153";
                                bias-pull-down; /* PULL DOWN */
                                drive-strength = <2>; /* 2 MA */
                                output-low;
                        };
                };
        cam_sensor5_active_adlink_rst2: cam_sensor5_active_adlink_rst2 {
                        /* RESET 2 */
                        mux {
                                pins = "gpio154";
                                function = "gpio";
                        };

                        config {
                                pins = "gpio154";
                                bias-disable; /* No PULL */
                                drive-strength = <2>; /* 2 MA */
                                output-high;
                        };
                };

        cam_sensor5_suspend_adlink_rst2: cam_sensor5_suspend_adlink_rst2 {
                        /* RESET 2 */
                        mux {
                                pins = "gpio154";
                                function = "gpio";
                        };

                        config {
                                pins = "gpio154";
                                bias-pull-down; /* PULL DOWN */
                                drive-strength = <2>; /* 2 MA */
                                output-low;
                        };
                };
        cam_sensor04_power_adlink_active: cam_sensor04_power_adlink_active {
                        mux {
                                pins = "gpio144";
                                function = "gpio";
                        };

                        config {
                                pins = "gpio144";
                                bias-disable; /* No PULL */
                                drive-strength = <2>; /* 2 MA */
                                output-high;
                        };
                };

        cam_sensor04_power_adlink_suspend: cam_sensor04_power_adlink_suspend {
                        mux {
                                pins = "gpio144";
                                function = "gpio";
                        };

                        config {
                                pins = "gpio144";
                                bias-pull-down; /* PULL DOWN */
                                drive-strength = <2>; /* 2 MA */
                                output-low;
                        };
                };
        cam_sensor04_active_adlink_rst2: cam_sensor04_active_adlink_rst2 {
                        /* RESET 2 */
                        mux {
                                pins = "gpio145";
                                function = "gpio";
                        };

                        config {
                                pins = "gpio145";
                                bias-disable; /* No PULL */
                                drive-strength = <2>; /* 2 MA */
                                output-high;
                        };
                };
        cam_sensor04_suspend_adlink_rst2: cam_sensor04_suspend_adlink_rst2 {
                        /* RESET 2 */
                        mux {
                                pins = "gpio145";
                                function = "gpio";
                        };

                        config {
                                pins = "gpio145";
                                bias-pull-down; /* PULL DOWN */
                                drive-strength = <2>; /* 2 MA */
                                output-low;
                        };
                };


        cam_sensor3_power_adlink_active: cam_sensor3_power_adlink_active {
                        mux {
                                pins = "gpio125";
                                function = "gpio";
                        };

                        config {
                                pins = "gpio125";
                                bias-disable; /* No PULL */
                                drive-strength = <2>; /* 2 MA */
                                output-high;
                        };
                };

        cam_sensor3_power_adlink_suspend: cam_sensor3_power_adlink_suspend {
                        mux {
                                pins = "gpio125";
                                function = "gpio";
                        };

                        config {
                                pins = "gpio125";
                                bias-pull-down; /* PULL DOWN */
                                drive-strength = <2>; /* 2 MA */
                                output-low;
                        };
                };
        cam_sensor3_active_adlink_rst2: cam_sensor3_active_adlink_rst2 {
                        /* RESET 2 */
                        mux {
                                pins = "gpio126";
                                function = "gpio";
                        };

                        config {
                                pins = "gpio126";
                                bias-disable; /* No PULL */
                                drive-strength = <2>; /* 2 MA */
                                output-high;
                        };
                };

        cam_sensor3_suspend_adlink_rst2: cam_sensor3_suspend_adlink_rst2 {
                        /* RESET 2 */
                        mux {
                                pins = "gpio126";
                                function = "gpio";
                        };

                        config {
                                pins = "gpio126";
                                bias-pull-down; /* PULL DOWN */
                                drive-strength = <2>; /* 2 MA */
                                output-low;
                        };
                };
	/* cam0 -- cci0 */
	
	cam_sensor0_power_adlink_active: cam_sensor0_power_adlink_active {
                        mux {
                                pins = "gpio52";
                                function = "gpio";
                        };

                        config {
                                pins = "gpio52";
                                bias-disable; /* No PULL */
                                drive-strength = <2>; /* 2 MA */
                                output-high;
                        };
                };
	cam_sensor0_power_adlink_suspend: cam_sensor0_power_adlink_suspend {
                        mux {
                                pins = "gpio52";
                                function = "gpio";
                        };

                        config {
                                pins = "gpio52";
                                bias-pull-down; /* PULL DOWN */
                                drive-strength = <2>; /* 2 MA */
                                output-low;
                        };
                };
        cam_sensor0_active_adlink_rst0: cam_sensor0_active_adlink_rst0 {
                        /* RESET 2 */
                        mux {
                                pins = "gpio3";
                                function = "gpio";
                        };

                        config {
                                pins = "gpio3";
                                bias-disable; /* No PULL */
                                drive-strength = <2>; /* 2 MA */
                                output-high;
                        };
                };
        cam_sensor0_suspend_adlink_rst0: cam_sensor0_suspend_adlink_rst0 {
                        /* RESET 2 */
                        mux {
                                pins = "gpio3";
                                function = "gpio";
                        };

                        config {
                                pins = "gpio3";
                                bias-pull-down; /* PULL DOWN */
                                drive-strength = <2>; /* 2 MA */
                                output-low;
                        };
                };
	/* cam1 --cci1 */

	cam_sensor1_power_adlink_active: cam_sensor1_power_adlink_active {
                        mux {
                                pins = "gpio2";
                                function = "gpio";
                        };

                        config {
                                pins = "gpio2";
                                bias-disable; /* No PULL */
                                drive-strength = <2>; /* 2 MA */
                                output-high;
                        };
                };
	 cam_sensor1_power_adlink_suspend: cam_sensor1_power_adlink_suspend {
                        mux {
                                pins = "gpio2";
                                function = "gpio";
                        };

                        config {
                                pins = "gpio2";
                                bias-pull-down; /* PULL DOWN */
                                drive-strength = <2>; /* 2 MA */
                                output-low;
                        };
                };
        cam_sensor1_active_adlink_rst2: cam_sensor1_active_adlink_rst2 {
                        /* RESET 2 */
                        mux {
                                pins = "gpio51";
                                function = "gpio";
                        };

                        config {
                                pins = "gpio51";
                                bias-disable; /* No PULL */
                                drive-strength = <2>; /* 2 MA */
                                output-high;
                        };
                };
        cam_sensor1_suspend_adlink_rst2: cam_sensor1_suspend_adlink_rst2 {
                        /* RESET 2 */
                        mux {
                                pins = "gpio51";
                                function = "gpio";
                        };

                        config {
                                pins = "gpio51";
                                bias-pull-down; /* PULL DOWN */
                                drive-strength = <2>; /* 2 MA */
                                output-low;
                        };
                };
};

